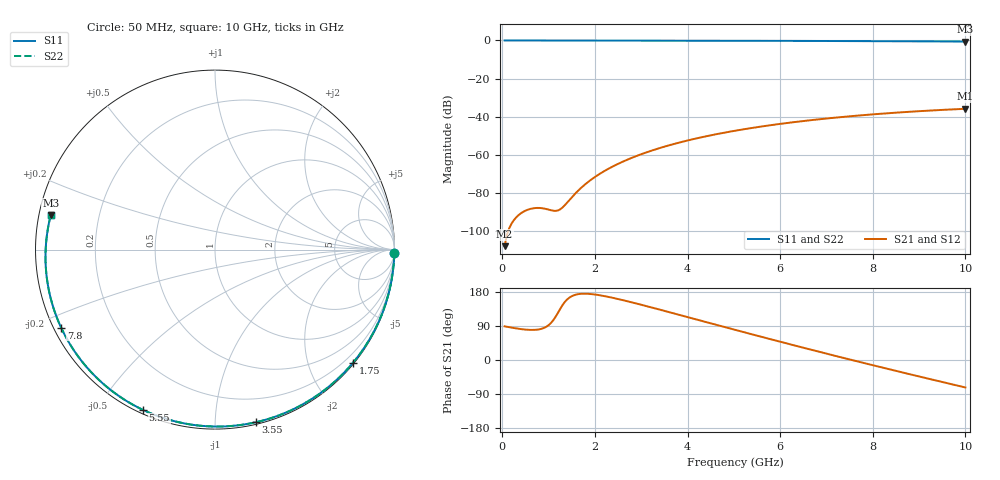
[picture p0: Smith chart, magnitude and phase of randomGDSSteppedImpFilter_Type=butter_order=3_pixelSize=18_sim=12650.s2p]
! freq	dB(S11)	phase(S11)	dB(S12)	phase(S12)
!  dB(S21)	phase(S21)	dB(S22)	phase(S22)
!S-par simulation data
#  GHz  S  DB  R 50
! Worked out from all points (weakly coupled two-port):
!   200 points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, 50 MHz to 10 GHz, reference 50 ohm
!   highest |S21| = -35.83 dB at 10 GHz (marker M1); lowest = -107.8 dB at 50 MHz (marker M2)
!   lowest |S11| = -0.6 dB at 10 GHz (marker M3), VSWR 29.76, Z = 1.7 + j5.19 ohm
!   |S11| at or under -10 dB: nowhere
!   |S22| runs from -0.6 to 0.0 dB; largest |S21 - S12| = 0
!   S11 on the Smith chart (normalised r, x): 50 MHz: open; 1.75 GHz: 0.03, -2.80; 3.55 GHz: 0.02, -1.26; 5.55 GHz: 0.02, -0.65; 7.8 GHz: 0.02, -0.24; 10 GHz: 0.03, +0.10
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0.05  -0.00 -1.1  -107.84 88.8  -107.84 88.8  -0.00 -1.1
0.45  -0.02 -10.3  -89.86 80.9  -89.86 80.9  -0.02 -10.2
0.8  -0.02 -18.2  -87.80 81.0  -87.80 81.0  -0.02 -18.2
1.55  -0.04 -34.9  -80.91 171.0  -80.91 171.0  -0.04 -34.9
1.6  -0.05 -36.0  -79.64 172.8  -79.64 172.8  -0.05 -36.0
1.75  -0.05 -39.3  -76.23 175.0  -76.23 175.0  -0.05 -39.3
2.05  -0.06 -45.8  -70.76 171.9  -70.76 171.9  -0.06 -45.8
2.25  -0.06 -50.1  -67.82 167.6  -67.82 167.6  -0.06 -50.0
2.45  -0.07 -54.3  -65.27 162.3  -65.27 162.3  -0.07 -54.3
2.9  -0.08 -63.6  -60.54 148.9  -60.54 148.9  -0.08 -63.6
3.4  -0.10 -73.8  -56.40 132.9  -56.40 132.9  -0.10 -73.7
3.55  -0.10 -76.8  -55.32 128.0  -55.32 128.0  -0.10 -76.7
4.3  -0.13 -91.3  -50.76 103.4  -50.76 103.4  -0.13 -91.3
5.05  -0.16 -105.2  -47.23 78.8  -47.23 78.8  -0.16 -105.2
5.55  -0.18 -114.2  -45.27 62.6  -45.27 62.6  -0.18 -114.2
6.1  -0.22 -123.9  -43.42 45.0  -43.42 45.0  -0.22 -123.9
6.7  -0.26 -134.3  -41.69 26.1  -41.69 26.1  -0.25 -134.3
7.25  -0.30 -143.8  -40.32 9.1  -40.32 9.1  -0.30 -143.7
7.8  -0.34 -153.1  -39.14 -7.7  -39.14 -7.7  -0.34 -153.1
8.35  -0.40 -162.6  -38.11 -24.2  -38.11 -24.2  -0.40 -162.5
9.2  -0.49 -177.4  -36.79 -49.3  -36.79 -49.3  -0.49 -177.3
10  -0.58 168.1  -35.83 -72.5  -35.83 -72.5  -0.58 168.2
